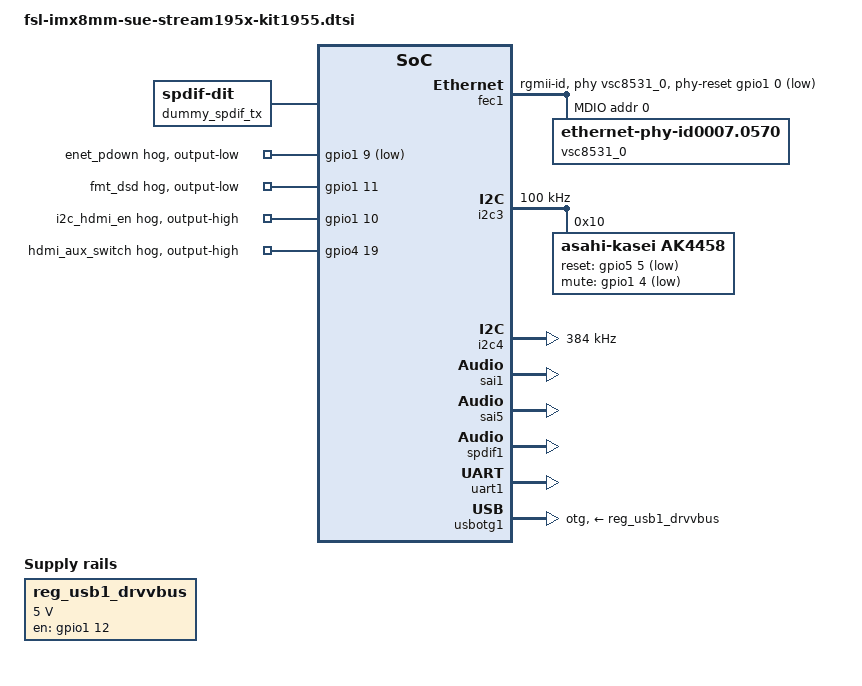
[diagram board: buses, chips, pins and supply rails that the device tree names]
#include <dt-bindings/net/mscc-phy-vsc8531.h>

/ {
	sue {
		carrierboard = "streamkit1955";
	};

	dummy_spdif_tx: spdif-transmitter {
		#sound-dai-cells = <0>;
		compatible = "linux,spdif-dit";
	};

	reg_usb1_drvvbus: regulator@0 {
		compatible = "regulator-fixed";
		pinctrl-names = "default";
		pinctrl-0 = <&pinctrl_usb1_drvvbus>;

		regulator-name = "usb1_drvvbus";
		regulator-min-microvolt = <5000000>;
		regulator-max-microvolt = <5000000>;
		enable-active-high;
		gpio = <&gpio1 12 GPIO_ACTIVE_HIGH>;
	};

	/* Sound card for non-removable components on carrierboard. For
	 * removable components, add a new sound card per removable component.
	 */
	sound-pcm {
		compatible = "sue,stream195x-audio";
		sue-card,name = "Carrierboard";

		clocks = <&clk IMX8MM_AUDIO_PLL1_OUT>, <&clk IMX8MM_AUDIO_PLL2_OUT>;
		clock-names = "pll8k", "pll11k";

		sue-card,dai-link@0 {
			format = "i2s";

			frame-master = <&dailink0_cpu>;
			bitclock-master = <&dailink0_cpu>;

			continuous-clock;

			dailink0_cpu: cpu {
				sound-dai = <&sai1>;
				dai-tdm-slot-num = <2>;
				dai-tdm-slot-width = <32>;
			};

			dailink0_codec: codec {
				/* use-dummy-codec; */
				sound-dai = <&ak4458>;
				dai-tdm-slot-num = <2>;
				dai-tdm-slot-width = <32>;
			};
		};
	};

	sound-spdif {
		compatible = "fsl,imx-audio-spdif";
		model = "CarrierBoardSpd";
		spdif-controller = <&spdif1>;
		spdif-out;
		spdif-in;
	};
};

&clk {
	assigned-clock-rates = <0>, <0>, <0>,
				<400000000>,
				<400000000>,
				<750000000>,
				<594000000>,
				<786432000>, /* 2x rate from imx8mm.dtsi*/
				<722534400>; /* 2x rate from imx8mm.dtsi */
};

&fec1 {
	pinctrl-names = "default";
	pinctrl-0 = <&pinctrl_fec1>;
	phy-mode = "rgmii-id";
	phy-handle = <&vsc8531_0>;
	status = "okay";

	phy-reset-gpios = <&gpio1 0 GPIO_ACTIVE_LOW>;
	phy-reset-duration = <5>;
	phy-reset-post-delay = <5>;

	mdio {
		#address-cells = <1>;
		#size-cells = <0>;

		vsc8531_0: ethernet-phy@0 {
			reg = <0>;
			compatible = "ethernet-phy-id0007.0570";

			/* Display the link activity on right and 1 Gbit activity on the left */
			vsc8531,led-0-mode = /bits/ 8 <VSC8531_LINK_1000_ACTIVITY>;
			vsc8531,led-1-mode = /bits/ 8 <VSC8531_LINK_ACTIVITY>;

			/* Drive the LED pins instead of relying on external pull-ups */
			vsc8531,led-drive;

			/* Invert polarity on both LEDs */
			vsc8531,led-0-inv-pol;
			vsc8531,led-1-inv-pol;

			/* Set blink rate to 10 Hz to match common switches */
			vsc8531,led-blink-rate = /bits/ 8 <VSC8531_LED_BLINK_RATE_10HZ>;

			vsc8531,vddmac = /bits/ 16 <1800>;
			vsc8531,edge-slowdown = /bits/ 8 <0>;
		};
	};
};

&gpio1 {
	/*
	 * TODO: most of those GPIO hogs will be moved to it's own drivers
	 * sooner or later.
	 */
	enet_pdown {
		gpio-hog;
		gpios = <9 GPIO_ACTIVE_LOW>;
		output-low;
		line-name = "enet_pdown";
	};

	fmt_dsd {
		gpio-hog;
		gpios = <11 GPIO_ACTIVE_HIGH>;
		output-low;
		line-name = "fmt_dsd";
	};

	i2c_hdmi_en {
		gpio-hog;
		gpios = <10 GPIO_ACTIVE_HIGH>;
		output-high;
		line-name = "i2c_hdmi_en";
	};
};

&gpio4 {
	hdmi_aux_switch {
		gpio-hog;
		gpios = <19 GPIO_ACTIVE_HIGH>;
		output-high;
		line-name = "hdmi_aux_switch";
	};
};

&i2c3 {
	clock-frequency = <100000>;
	pinctrl-names = "default";
	pinctrl-0 = <&pinctrl_i2c3>;
	status = "okay";

	ak4458: ak4458@10 {
		#sound-dai-cells = <0>;
		compatible = "asahi-kasei,ak4458";
		reg = <0x10>;
		reset-gpios = <&gpio5 5 GPIO_ACTIVE_LOW>;
		mute-gpios = <&gpio1 4 GPIO_ACTIVE_LOW>;
	};
};

&i2c4 {
	/*
	 * Workaround for:
	 *   e7805: I2C: When the I2C clock speed is configured for 400 kHz, the SCL low period
	 *   violates the I2C spec of 1.3 uS min
	 */
	clock-frequency = <384000>;

	pinctrl-names = "default";
	pinctrl-0 = <&pinctrl_i2c4>;
	status = "okay";
};

&iomuxc {
	imx8mm-s195x-kit {
		pinctrl_fec1: fec1grp {
			fsl,pins = <
				MX8MM_IOMUXC_ENET_MDC_ENET1_MDC			(IOMUX_CONFIG_SION | PAD_CTL_DSE6x)
				MX8MM_IOMUXC_ENET_MDIO_ENET1_MDIO		(PAD_CTL_DSE6x | PAD_CTL_PE_DOWN)

				MX8MM_IOMUXC_ENET_TD0_ENET1_RGMII_TD0		(PAD_CTL_FAST | PAD_CTL_DSE6x)
				MX8MM_IOMUXC_ENET_TD1_ENET1_RGMII_TD1		(PAD_CTL_FAST | PAD_CTL_DSE6x)
				MX8MM_IOMUXC_ENET_TD2_ENET1_RGMII_TD2		(PAD_CTL_FAST | PAD_CTL_DSE6x)
				MX8MM_IOMUXC_ENET_TD3_ENET1_RGMII_TD3		(PAD_CTL_FAST | PAD_CTL_DSE6x)
				MX8MM_IOMUXC_ENET_TX_CTL_ENET1_RGMII_TX_CTL	(PAD_CTL_FAST | PAD_CTL_DSE6x)
				MX8MM_IOMUXC_ENET_TXC_ENET1_RGMII_TXC		(PAD_CTL_FAST | PAD_CTL_DSE6x)

				MX8MM_IOMUXC_ENET_RD0_ENET1_RGMII_RD0		(PAD_CTL_HYS | PAD_CTL_FAST)
				MX8MM_IOMUXC_ENET_RD1_ENET1_RGMII_RD1		(PAD_CTL_HYS | PAD_CTL_FAST)
				MX8MM_IOMUXC_ENET_RD2_ENET1_RGMII_RD2		(PAD_CTL_HYS | PAD_CTL_FAST)
				MX8MM_IOMUXC_ENET_RD3_ENET1_RGMII_RD3		(PAD_CTL_HYS | PAD_CTL_FAST)
				MX8MM_IOMUXC_ENET_RX_CTL_ENET1_RGMII_RX_CTL	(PAD_CTL_HYS | PAD_CTL_FAST)
				MX8MM_IOMUXC_ENET_RXC_ENET1_RGMII_RXC		(PAD_CTL_HYS | PAD_CTL_FAST)

				MX8MM_IOMUXC_GPIO1_IO00_GPIO1_IO0		(PAD_CTL_PE_UP)					/* ENET_RST_N */
				MX8MM_IOMUXC_GPIO1_IO08_GPIO1_IO8		(PAD_CTL_PE_UP | PAD_CTL_HYS | PAD_CTL_FAST)	/* ENET_IRQ_N */
				MX8MM_IOMUXC_GPIO1_IO09_GPIO1_IO9		(PAD_CTL_PE_DOWN)				/* ENET_PDONW_N */

			>;
		};

		pinctrl_i2c3: i2c3grp {
			fsl,pins = <
				MX8MM_IOMUXC_I2C3_SCL_I2C3_SCL			(IOMUX_CONFIG_SION | PAD_CTL_PE_UP | PAD_CTL_HYS | PAD_CTL_FAST | PAD_CTL_DSE6x)
				MX8MM_IOMUXC_I2C3_SDA_I2C3_SDA			(IOMUX_CONFIG_SION | PAD_CTL_PE_UP | PAD_CTL_HYS | PAD_CTL_FAST | PAD_CTL_DSE6x)
			>;
		};

		pinctrl_i2c4: i2c4grp {
			fsl,pins = <
				MX8MM_IOMUXC_I2C4_SCL_I2C4_SCL			(IOMUX_CONFIG_SION | PAD_CTL_PE_UP | PAD_CTL_HYS | PAD_CTL_FAST | PAD_CTL_DSE6x)
				MX8MM_IOMUXC_I2C4_SDA_I2C4_SDA			(IOMUX_CONFIG_SION | PAD_CTL_PE_UP | PAD_CTL_HYS | PAD_CTL_FAST | PAD_CTL_DSE6x)
			>;
		};

		pinctrl_ecspi1: ecspi1grp {
			fsl,pins = <
				MX8MM_IOMUXC_ECSPI1_SCLK_ECSPI1_SCLK	(PAD_CTL_PE_DOWN | PAD_CTL_FAST | PAD_CTL_HYS | PAD_CTL_DSE4x)
				MX8MM_IOMUXC_ECSPI1_MOSI_ECSPI1_MOSI	(PAD_CTL_PE_DOWN | PAD_CTL_FAST | PAD_CTL_HYS | PAD_CTL_DSE4x)
				MX8MM_IOMUXC_ECSPI1_MISO_ECSPI1_MISO	(PAD_CTL_PE_DOWN | PAD_CTL_FAST | PAD_CTL_HYS)
			>;
		};

		pinctrl_ecspi1_cs: ecspi1cs {
			fsl,pins = <
				MX8MM_IOMUXC_ECSPI1_SS0_GPIO5_IO9		(PAD_CTL_PE_DOWN | PAD_CTL_HYS)
			>;
		};

		pinctrl_sai1_rx: sai1rxgrp {
			fsl,pins = <
				MX8MM_IOMUXC_SAI1_RXFS_SAI1_RX_SYNC		(PAD_CTL_PE_DOWN | PAD_CTL_HYS | PAD_CTL_FAST)
				MX8MM_IOMUXC_SAI1_RXC_SAI1_RX_BCLK		(PAD_CTL_PE_DOWN | PAD_CTL_HYS | PAD_CTL_FAST)

				MX8MM_IOMUXC_SAI1_RXD0_SAI1_RX_DATA0		(PAD_CTL_PE_DOWN | PAD_CTL_HYS | PAD_CTL_FAST)
				MX8MM_IOMUXC_SAI1_RXD1_SAI1_RX_DATA1		(PAD_CTL_PE_DOWN | PAD_CTL_HYS | PAD_CTL_FAST)
				MX8MM_IOMUXC_SAI1_RXD2_SAI1_RX_DATA2		(PAD_CTL_PE_DOWN | PAD_CTL_HYS | PAD_CTL_FAST)
				MX8MM_IOMUXC_SAI1_RXD3_SAI1_RX_DATA3		(PAD_CTL_PE_DOWN | PAD_CTL_HYS | PAD_CTL_FAST)
			>;
		};

		pinctrl_sai1_tx: sai1txgrp {
			fsl,pins = <
				MX8MM_IOMUXC_SAI1_MCLK_SAI1_MCLK                (PAD_CTL_PE_DOWN | PAD_CTL_HYS | PAD_CTL_FAST | PAD_CTL_DSE4x)
				MX8MM_IOMUXC_SAI1_TXFS_SAI1_TX_SYNC		(PAD_CTL_PE_DOWN | PAD_CTL_HYS | PAD_CTL_FAST | PAD_CTL_DSE4x)
				MX8MM_IOMUXC_SAI1_TXC_SAI1_TX_BCLK		(PAD_CTL_PE_DOWN | PAD_CTL_HYS | PAD_CTL_FAST | PAD_CTL_DSE4x)
				MX8MM_IOMUXC_SAI1_TXD0_SAI1_TX_DATA0		(PAD_CTL_PE_DOWN | PAD_CTL_HYS | PAD_CTL_FAST | PAD_CTL_DSE4x)
				MX8MM_IOMUXC_SAI1_TXD1_SAI1_TX_DATA1		(PAD_CTL_PE_DOWN | PAD_CTL_HYS | PAD_CTL_FAST | PAD_CTL_DSE4x)
				MX8MM_IOMUXC_SAI1_TXD2_SAI1_TX_DATA2		(PAD_CTL_PE_DOWN | PAD_CTL_HYS | PAD_CTL_FAST | PAD_CTL_DSE4x)
				MX8MM_IOMUXC_SAI1_TXD3_SAI1_TX_DATA3		(PAD_CTL_PE_DOWN | PAD_CTL_HYS | PAD_CTL_FAST | PAD_CTL_DSE4x)
			>;
		};

		pinctrl_sai2_rx: sai2rxgrp {
			fsl,pins = <
				MX8MM_IOMUXC_SAI2_RXD0_SAI2_RX_DATA0		(PAD_CTL_PE_DOWN | PAD_CTL_HYS | PAD_CTL_FAST)
				MX8MM_IOMUXC_SAI2_RXC_SAI2_RX_BCLK		(PAD_CTL_PE_DOWN | PAD_CTL_HYS | PAD_CTL_FAST | PAD_CTL_DSE4x)
				MX8MM_IOMUXC_SAI2_RXFS_SAI2_RX_SYNC		(PAD_CTL_PE_DOWN | PAD_CTL_HYS | PAD_CTL_FAST | PAD_CTL_DSE4x)
			>;
		};

		pinctrl_sai2_clk: sai2clkgrp {
			fsl,pins = <
				MX8MM_IOMUXC_SAI2_MCLK_SAI2_MCLK		(PAD_CTL_PE_DOWN | PAD_CTL_HYS | PAD_CTL_FAST | PAD_CTL_DSE4x)
			>;
		};

		pinctrl_sai5_rx: sai5rxgrp {
			fsl,pins = <
				MX8MM_IOMUXC_SAI5_RXD0_SAI5_RX_DATA0		(PAD_CTL_PE_DOWN | PAD_CTL_HYS | PAD_CTL_FAST)
				MX8MM_IOMUXC_SAI5_RXD1_SAI5_RX_DATA1		(PAD_CTL_PE_DOWN | PAD_CTL_HYS | PAD_CTL_FAST)
				MX8MM_IOMUXC_SAI5_RXD2_SAI5_RX_DATA2		(PAD_CTL_PE_DOWN | PAD_CTL_HYS | PAD_CTL_FAST)
				MX8MM_IOMUXC_SAI5_RXD3_SAI5_RX_DATA3		(PAD_CTL_PE_DOWN | PAD_CTL_HYS | PAD_CTL_FAST)
				MX8MM_IOMUXC_SAI5_RXC_SAI5_RX_BCLK		(PAD_CTL_PE_DOWN | PAD_CTL_HYS | PAD_CTL_FAST | PAD_CTL_DSE4x)
				MX8MM_IOMUXC_SAI5_RXFS_SAI5_RX_SYNC		(PAD_CTL_PE_DOWN | PAD_CTL_HYS | PAD_CTL_FAST | PAD_CTL_DSE4x)
			>;
		};

		pinctrl_sai6_rx: sai6rxgrp {
			fsl,pins = <
				MX8MM_IOMUXC_SAI1_RXD5_SAI6_RX_DATA0		(PAD_CTL_PE_DOWN | PAD_CTL_HYS | PAD_CTL_FAST)
				MX8MM_IOMUXC_SAI1_RXD4_SAI6_RX_BCLK		(PAD_CTL_PE_DOWN | PAD_CTL_HYS | PAD_CTL_FAST | PAD_CTL_DSE4x)
				MX8MM_IOMUXC_SAI1_RXD6_SAI6_RX_SYNC		(PAD_CTL_PE_DOWN | PAD_CTL_HYS | PAD_CTL_FAST | PAD_CTL_DSE4x)
			>;
		};

		pinctrl_spdif1: spdif1grp {
			fsl,pins = <
				MX8MM_IOMUXC_SPDIF_TX_SPDIF1_OUT	(PAD_CTL_PE_UP | PAD_CTL_HYS | PAD_CTL_FAST | PAD_CTL_DSE6x)
				MX8MM_IOMUXC_SPDIF_RX_SPDIF1_IN		(PAD_CTL_PE_UP | PAD_CTL_HYS | PAD_CTL_FAST | PAD_CTL_DSE6x)
			>;
		};

		pinctrl_uart1: uart1grp {
			fsl,pins = <
				MX8MM_IOMUXC_UART1_RXD_UART1_DCE_RX	(PAD_CTL_PE_UP | PAD_CTL_HYS)
				MX8MM_IOMUXC_UART1_TXD_UART1_DCE_TX	(PAD_CTL_PE_UP | PAD_CTL_HYS)
			>;
		};

		pinctrl_usb1_drvvbus: usb1drvvbusgrp {
			fsl,pins = <
				MX8MM_IOMUXC_GPIO1_IO12_GPIO1_IO12	(PAD_CTL_PE_DOWN | PAD_CTL_HYS)
			>;
		};
	};
};

&sai1 {
	#sound-dai-cells = <0>;	/* This is required for the simple-audio-card to work */
	pinctrl-names = "default";
	pinctrl-0 = <&pinctrl_sai1_tx>;
	assigned-clocks = <&clk IMX8MM_CLK_SAI1>;
	assigned-clock-parents = <&clk IMX8MM_AUDIO_PLL1_OUT>;
	assigned-clock-rates = <24576000>;

	/* This only adds the pll8k and the pll11k clock to the list */
	clocks = <&clk IMX8MM_CLK_SAI1_IPG>, <&clk IMX8MM_CLK_DUMMY>,
		 <&clk IMX8MM_CLK_SAI1_ROOT>,
		 <&clk IMX8MM_CLK_DUMMY>, <&clk IMX8MM_CLK_DUMMY>,
		 <&clk IMX8MM_AUDIO_PLL1_OUT>, <&clk IMX8MM_AUDIO_PLL2_OUT>;
	clock-names = "bus", "mclk0", "mclk1", "mclk2", "mclk3",
		      "pll8k", "pll11k";

	status = "okay";

	/*
	 * This is conjunction with `dai-tdm-slot-num = <2>;` makes sure that
	 * for 8 channel playback 8 ch / 2 slots = 4 pins are used with a mask of 0xf.
	 * /
	/* first number is pins, second is rx mask, third is tx mask */
	fsl,dataline = <
		1 0x1 0x1
		2 0x3 0x3
		3 0x7 0x7
		4 0xf 0xf
	>;
	fsl,sai-asynchronous;
	fsl,sai-multi-lane;
	dmas = <&sdma2 0 25 0>, <&sdma2 1 25 0>;
};

&sai5 {
	#sound-dai-cells = <0>;	/* This is required for the simple-audio-card to work */
	pinctrl-names = "default";
	pinctrl-0 = <&pinctrl_sai5_rx>;
	assigned-clocks = <&clk IMX8MM_CLK_SAI5>;
	assigned-clock-parents = <&clk IMX8MM_AUDIO_PLL1_OUT>;
	assigned-clock-rates = <24576000>;

	/* This only adds the pll8k and the pll11k clock to the list */
	clocks = <&clk IMX8MM_CLK_SAI5_IPG>, <&clk IMX8MM_CLK_DUMMY>,
		 <&clk IMX8MM_CLK_SAI5_ROOT>, <&clk IMX8MM_CLK_DUMMY>,
		 <&clk IMX8MM_CLK_DUMMY>,
		 <&clk IMX8MM_AUDIO_PLL1_OUT>, <&clk IMX8MM_AUDIO_PLL2_OUT>;
	clock-names = "bus", "mclk0",
		      "mclk1", "mclk2",
		      "mclk3",
		      "pll8k", "pll11k";

	status = "okay";

	/*
	 * This is conjunction with `dai-tdm-slot-num = <2>;` makes sure that
	 * for 8 channel playback 8 ch / 2 slots = 4 pins are used with a mask of 0xf.
	 * /
	/* first number is pins, second is rx mask, third is tx mask */
	fsl,dataline = <
		1 0x1 0x1
		2 0x3 0x3
		3 0x7 0x7
		4 0xf 0xf
	>;
	fsl,sai-asynchronous;
};

&spdif1 {
	pinctrl-names = "default";
	pinctrl-0 = <&pinctrl_spdif1>;
	assigned-clocks = <&clk IMX8MM_CLK_SPDIF1>;
	assigned-clock-parents = <&clk IMX8MM_AUDIO_PLL1_OUT>;
	assigned-clock-rates = <24576000>;

	clocks = <&clk IMX8MM_CLK_AUDIO_AHB>, <&clk IMX8MM_CLK_24M>,
		<&clk IMX8MM_CLK_SPDIF1>, <&clk IMX8MM_CLK_DUMMY>,
		<&clk IMX8MM_CLK_DUMMY>, <&clk IMX8MM_CLK_DUMMY>,
		<&clk IMX8MM_CLK_AUDIO_AHB>, <&clk IMX8MM_CLK_DUMMY>,
		<&clk IMX8MM_CLK_DUMMY>, <&clk IMX8MM_CLK_DUMMY>,
		<&clk IMX8MM_AUDIO_PLL1_OUT>, <&clk IMX8MM_AUDIO_PLL2_OUT>;

	clock-names = "core", "rxtx0", "rxtx1", "rxtx2", "rxtx3",
		"rxtx4", "rxtx5", "rxtx6", "rxtx7", "spba", "pll8k", "pll11k";

	interrupts = <GIC_SPI 6 IRQ_TYPE_LEVEL_HIGH>;
	interrupt-names = "irq_spdifin";

	status = "okay";
};

&uart1 {
	pinctrl-names = "default";
	pinctrl-0 = <&pinctrl_uart1>;
	status = "okay";
};

&usbotg1 {
	dr_mode = "otg";
	status = "okay";
	vbus-supply = <&reg_usb1_drvvbus>;
};
